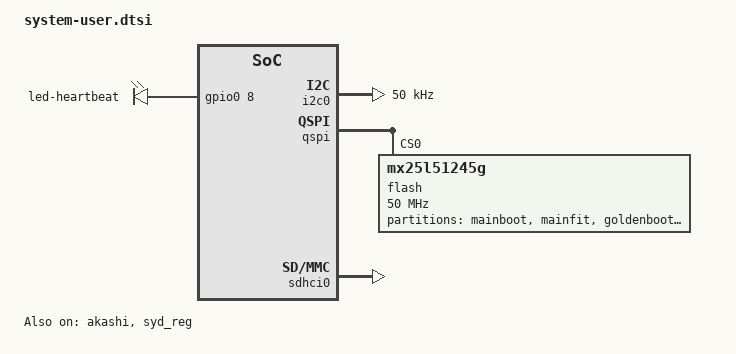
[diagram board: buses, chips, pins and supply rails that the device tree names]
/ {
    chosen {
        bootargs = "console=ttyPS0,115200 earlyprintk earlycon clk_ignore_unused";
    };

	leds {
		compatible = "gpio-leds";

		led@heartbeat {
			label = "led-heartbeat";
			gpios = <&gpio0 8 0>;
			linux,default-trigger = "heartbeat";
		};
	};

	usb_phy0: phy0@e0002000 {
		compatible = "ulpi-phy";
		#phy-cells = <0>;
		reg = <0xe0002000 0x1000>;
		view-port = <0x0170>;
		drv-vbus;
	};
};

&clkc {
	ps-clk-frequency = <33333333>;
};

&i2c0 {
	status = "okay";
	clock-frequency = <50000>;
};

&i2c1 {
	status = "false";
};

&qspi {
	u-boot,dm-pre-reloc;
	status = "okay";
	is-dual = <0>;
	num-cs = <1>;

	flash@0 {
		compatible = "mx25l51245g", "jedec,spi-nor";
		reg = <0x0>;
		spi-tx-bus-width = <1>;
		spi-rx-bus-width = <4>;
		spi-max-frequency = <50000000>;
		#address-cells = <1>;
		#size-cells = <1>;

        // Quick generation of contiguous MiB-aligned flash partitions:
        // #!/usr/bin/bash
        // addr=0
        // while IFS=" " read -r name mib; do
        //     echo "partition@${name} {"
        //     echo "    label = \"${name}\";"
        //     siz=$(( mib * 0x100000 ))
        //     printf "    reg = <0x%x 0x%x>;\n" "${addr}" "${siz}"
        //     addr=$(( "${addr}" + "${siz}" ))
        //     echo "};"
        // done << EOF
        // mainboot 8
        // mainfit 16
        // goldenboot 8
        // goldenfit 16
        // danteipcore 12
        // dantepersist 2
        // readonlyprops 2
        // EOF

        partition@mainboot {
            label = "mainboot";
            reg = <0x0 0x800000>;
        };
        partition@mainfit {
            label = "mainfit";
            reg = <0x800000 0x1000000>;
        };
        partition@goldenboot {
            label = "goldenboot";
            reg = <0x1800000 0x800000>;
        };
        partition@goldenfit {
            label = "goldenfit";
            reg = <0x2000000 0x1000000>;
        };
        partition@danteipcore {
            label = "danteipcore";
            reg = <0x3000000 0xc00000>;
        };
        partition@dantepersist {
            label = "dantepersist";
            reg = <0x3c00000 0x200000>;
        };
        partition@readonlyprops {
            label = "readonlyprops";
            reg = <0x3e00000 0x200000>;
        };

    };
};

// force enable
&sdhci0 {
    status = "okay";
    xlnx,has-cd = <0>;
    xlnx,has-power = <0>;
    xlnx,has-wp = <0>;
};

&amba {
    akashi: akashi@60000000 {
        compatible = "xlnx,akashi";
        status = "ok";
        interrupt-parent = <&intc>;
        interrupts = <0 29 1>, <0 30 1>, <0 31 1>, <0 32 1>, <0 35 1>;
        interrupt-names = "ts", "rx", "tx", "rxerr", "smi";
        reg = <0x60000000 0x40000>;
        #redundancy = <0x00000002 0x00000008 0x00000050 0x02121000>;
        #control-ports = <0x0>;
        #external-phys = <0x0>;
    };
    syd_reg: syd_reg@60000000 {
        compatible = "xlnx,syd_reg";
        status = "ok";
        interrupt-parent = <&intc>;
        interrupts = <0 33 1>, <0 34 1>, <0 52 1>, <0 53 1>, <0 54 1>;
        interrupt-names = "rx_act", "meter", "rx_ka", "daif", "ape";
        reg = <0x60000000 0x40000>;
    };
};
